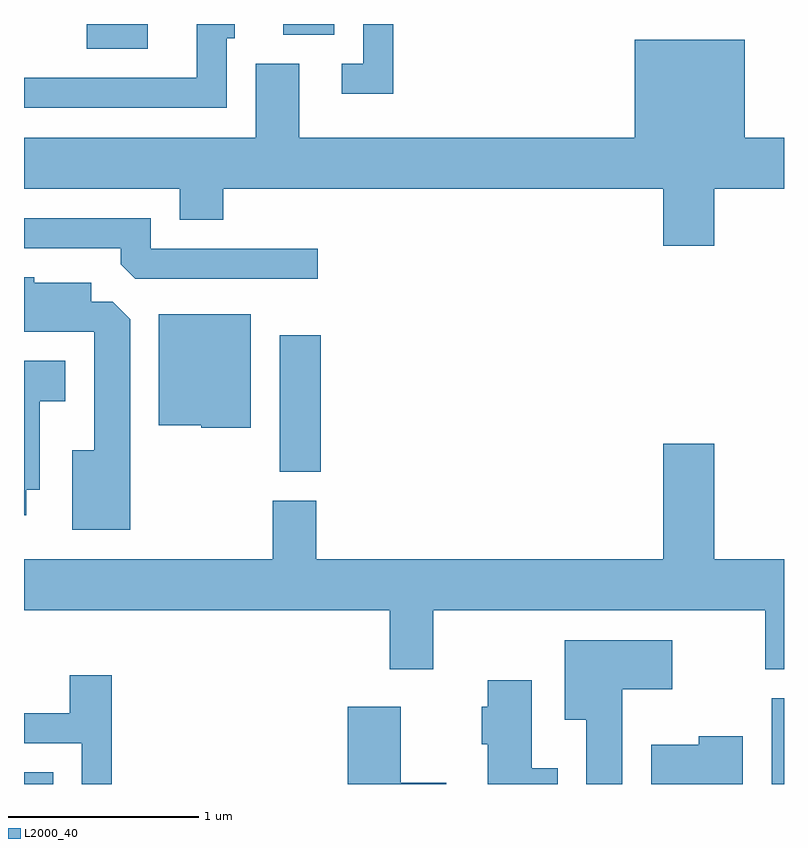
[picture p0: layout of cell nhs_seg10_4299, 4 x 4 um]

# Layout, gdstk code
import gdstk
lib = gdstk.Library(unit=1e-6, precision=1e-09)
def R(c, l, rs):  # rectangles x0, y0, x1, y1
    for r in rs: c.add(gdstk.rectangle(r[:2], r[2:], *l))
def P(c, l, *ps):  # polygons
    for p in ps: c.add(gdstk.Polygon(p, *l))
L2000_40 = (2000, 40)

nhs_seg10_4299 = lib.new_cell('nhs_seg10_4299')
R(nhs_seg10_4299, L2000_40, [(311.611,2148.522,311.764,2148.584), (315.546,2148.522,315.611,2148.974), (312.956,2150.166,313.174,2150.884), (311.941,2152.391,312.263,2152.522), (312.976,2152.466,313.244,2152.522)])
P(nhs_seg10_4299, L2000_40, [(313.554,2152.522),(313.396,2152.522),(313.396,2152.314),(313.283,2152.314),(313.283,2152.156),(313.554,2152.156)],
  [(312.679,2152.446),(312.719,2152.446),(312.719,2152.522),(312.521,2152.522),(312.521,2152.239),(311.611,2152.239),(311.611,2152.081),(312.679,2152.081)],
  [(315.244,2151.656),(315.611,2151.656),(315.611,2151.924),(315.404,2151.924),(315.404,2152.439),(314.826,2152.439),(314.826,2151.924),(313.059,2151.924),(313.059,2152.314),(312.831,2152.314),(312.831,2151.924),(311.611,2151.924),(311.611,2151.656),(312.431,2151.656),(312.431,2151.491),(312.659,2151.491),(312.659,2151.656),(314.976,2151.656),(314.976,2151.356),(315.244,2151.356)],
  [(313.158,2151.339),(312.279,2151.339),(312.279,2151.499),(311.611,2151.499),(311.611,2151.341),(312.121,2151.341),(312.121,2151.257),(312.197,2151.181),(313.158,2151.181)],
  [(312.169,2150.969),(312.079,2151.059),(311.964,2151.059),(311.964,2151.159),(311.664,2151.159),(311.664,2151.189),(311.611,2151.189),(311.611,2150.901),(311.981,2150.901),(311.981,2150.279),(311.866,2150.279),(311.866,2149.861),(312.169,2149.861)],
  [(312.804,2150.994),(312.321,2150.994),(312.321,2150.411),(312.545,2150.411),(312.545,2150.396),(312.804,2150.396)],
  [(311.624,2150.071),(311.694,2150.071),(311.694,2150.536),(311.829,2150.536),(311.829,2150.749),(311.611,2150.749),(311.611,2149.936),(311.624,2149.936)],
  [(313.764,2149.436),(315.511,2149.436),(315.511,2149.126),(315.611,2149.126),(315.611,2149.704),(315.244,2149.704),(315.244,2150.314),(314.976,2150.314),(314.976,2149.704),(313.149,2149.704),(313.149,2150.014),(312.921,2150.014),(312.921,2149.704),(311.611,2149.704),(311.611,2149.436),(313.536,2149.436),(313.536,2149.126),(313.764,2149.126)],
  [(314.759,2149.021),(315.024,2149.021),(315.024,2149.279),(314.456,2149.279),(314.456,2148.861),(314.571,2148.861),(314.571,2148.522),(314.759,2148.522)],
  [(312.074,2149.094),(311.851,2149.094),(311.851,2148.894),(311.611,2148.894),(311.611,2148.736),(311.916,2148.736),(311.916,2148.522),(312.074,2148.522)],
  [(314.419,2148.604),(314.284,2148.604),(314.284,2149.069),(314.051,2149.069),(314.051,2148.929),(314.021,2148.929),(314.021,2148.731),(314.051,2148.731),(314.051,2148.522),(314.419,2148.522)],
  [(313.834,2148.529),(313.594,2148.529),(313.594,2148.929),(313.316,2148.929),(313.316,2148.522),(313.834,2148.522)],
  [(315.394,2148.774),(315.161,2148.774),(315.161,2148.729),(314.911,2148.729),(314.911,2148.522),(315.394,2148.522)])

lib.write_gds('nhs_seg10_4299.gds')
